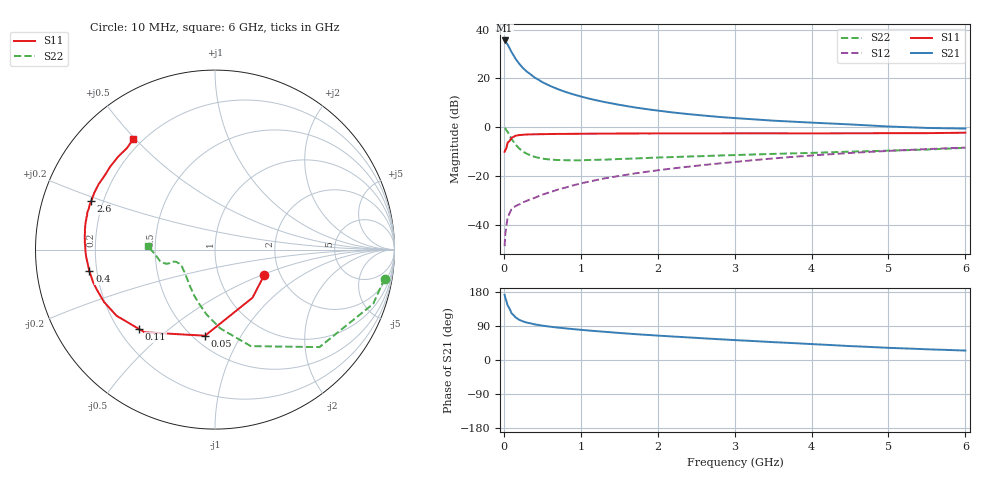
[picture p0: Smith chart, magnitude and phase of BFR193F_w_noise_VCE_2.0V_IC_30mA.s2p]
! Infineon Technologies  Discrete & RF Semiconductors
! BFR193F
! VCE =  2.0 V,  IC =  30 mA
! Common Emitter S-Parameters:  Jan 2017
# GHz  S  MA  R  50
!  f  S11  S21  S12  S22
! GHz  MAG  ANG  MAG  ANG  MAG  ANG  MAG  ANG
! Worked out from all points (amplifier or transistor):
!   77 points, 10 MHz to 6 GHz, reference 50 ohm
!   highest |S21| = 35.5 dB at 10 MHz (marker M1)
!   |S21| within 3 dB of that: start of sweep to 71.28 MHz
!   unconditionally stable (mu >= 1): 1.015 GHz to 2.802 GHz
!   at 130 MHz: K = 0.40, MSG = 31.1 dB, |S12| = -33.0 dB
!   at 2.2 GHz: K = 1.02, MAG = 10.5 dB, |S12| = -17.0 dB
!   at 6 GHz: K = 0.88, MSG = 3.9 dB, |S12| = -8.4 dB
!   lowest NFmin = 1.18 dB at 450 MHz
!   S11 on the Smith chart (normalised r, x): 10 MHz: 1.65, -0.52; 50 MHz: 0.57, -0.71; 110 MHz: 0.28, -0.40; 400 MHz: 0.17, -0.08; 2.6 GHz: 0.15, +0.18; 6 GHz: 0.17, +0.49
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0.01  0.3089 -27.4  59.62 172.0  0.0036 83.0  0.9583 -9.7
0.02  0.34 -52.1  58.05 163.6  0.0065 80.7  0.9319 -18.9
0.05  0.4829 -96.6  49.01 143.6  0.0137 60.7  0.7965 -43.0
0.1  0.605 -130.4  34.46 123.2  0.0206 51.4  0.5734 -69.7
0.11  0.6123 -133.7  32.58 121.6  0.0212 50.6  0.5436 -72.3
0.15  0.661 -146.1  25.41 112.7  0.0238 47.7  0.4397 -86.2
0.2  0.6838 -154.8  19.82 106.1  0.0259 46.8  0.3635 -97.6
0.25  0.694 -160.8  16.14 101.8  0.0285 48.8  0.312 -106.8
0.3  0.7028 -164.8  13.63 98.6  0.0308 51.8  0.2823 -114.0
0.4  0.7102 -170.2  10.34 93.9  0.0352 56.0  0.2442 -125.5
0.5  0.7139 -173.9  8.33 90.7  0.041 58.6  0.225 -133.5
0.6  0.7187 -176.7  6.982 87.9  0.046 61.2  0.2152 -140.1
0.7  0.7219 -179.2  6.003 85.5  0.052 63.6  0.2106 -144.5
0.9  0.7261 177.0  4.692 81.5  0.0635 66.5  0.207 -151.6
1.1  0.7296 174.1  3.854 77.9  0.0755 68.3  0.2106 -155.7
1.5  0.7357 169.1  2.858 71.4  0.0994 70.0  0.221 -160.9
2.1  0.7402 162.9  2.08 63.2  0.1355 70.4  0.2393 -163.7
2.6  0.7407 158.7  1.716 57.2  0.1664 69.9  0.2534 -163.7
3.1  0.7431 154.1  1.49 51.5  0.1986 68.9  0.2689 -163.5
4.1  0.7407 145.2  1.21 41.0  0.2673 64.7  0.298 -165.8
5.1  0.7476 135.1  1.012 31.4  0.3295 58.8  0.3309 -174.2
6  0.7653 126.6  0.929 24.9  0.3787 53.4  0.375 177.1
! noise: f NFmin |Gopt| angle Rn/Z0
0.45  1.18  0.39  176  0.06
0.9  1.27  0.42  176  0.07
1.9  1.84  0.57  -168  0.07
2.4  2.13  0.61  -159  0.11
